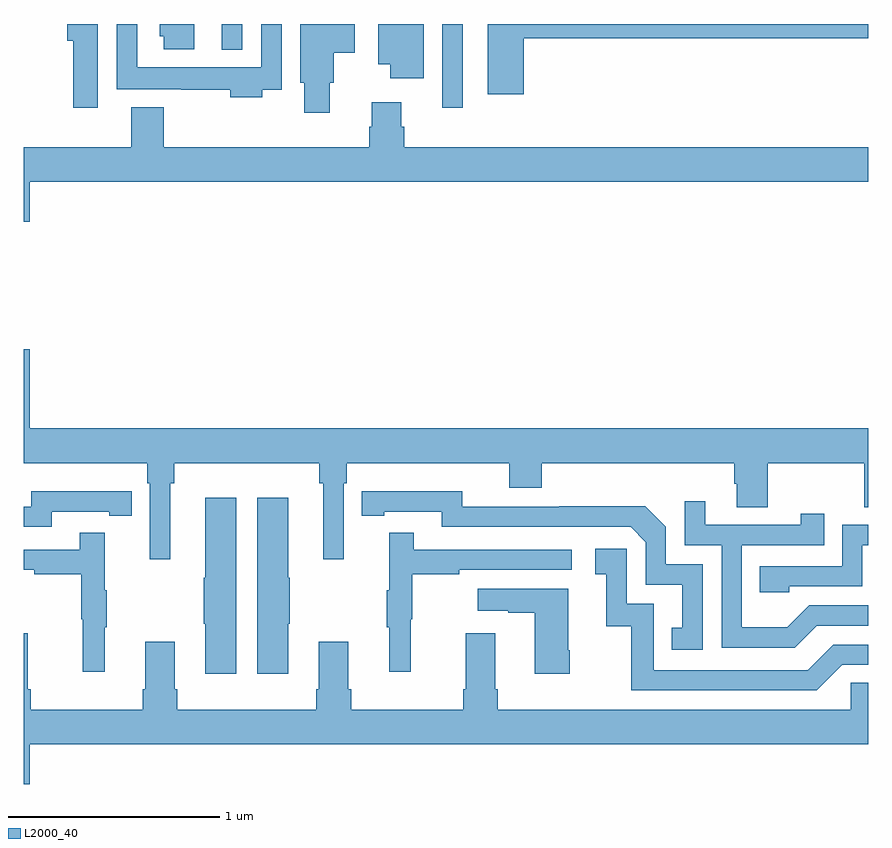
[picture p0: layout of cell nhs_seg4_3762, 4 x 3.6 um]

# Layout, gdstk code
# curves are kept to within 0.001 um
import gdstk
lib = gdstk.Library(unit=1e-6, precision=1e-09)
def R(c, l, rs):  # rectangles x0, y0, x1, y1
    for r in rs: c.add(gdstk.rectangle(r[:2], r[2:], *l))
def P(c, l, *ps):  # polygons
    for p in ps: c.add(gdstk.Polygon(p, *l))
L2000_40 = (2000, 40)

nhs_seg4_3762 = lib.new_cell('nhs_seg4_3762')
R(nhs_seg4_3762, L2000_40, [(310.983,798.504,311.079,798.9), (309.938,798.779,310.035,798.9)])
P(nhs_seg4_3762, L2000_40, [(310.129,798.588),(310.221,798.588),(310.221,798.9),(310.125,798.9),(310.125,798.694),(309.537,798.694),(309.537,798.9),(309.441,798.9),(309.441,798.59),(309.745,798.59),(309.745,798.588),(309.977,798.588),(309.977,798.554),(310.129,798.554)],
  [(309.808,798.9),(309.644,798.9),(309.644,798.843),(309.662,798.843),(309.662,798.78),(309.808,798.78)],
  [(311.369,798.832),(313,798.832),(313,798.9),(311.198,798.9),(311.198,798.567),(311.369,798.567)],
  [(310.894,798.9),(310.679,798.9),(310.679,798.71),(310.736,798.71),(310.736,798.642),(310.894,798.642)],
  [(309.351,798.9),(309.206,798.9),(309.206,798.821),(309.235,798.821),(309.235,798.504),(309.351,798.504)],
  [(310.45,798.621),(310.468,798.621),(310.468,798.763),(310.567,798.763),(310.567,798.9),(310.31,798.9),(310.31,798.621),(310.328,798.621),(310.328,798.48),(310.45,798.48)],
  [(313,798.316),(310.802,798.316),(310.802,798.414),(310.789,798.414),(310.789,798.529),(310.649,798.529),(310.649,798.414),(310.637,798.414),(310.637,798.316),(309.662,798.316),(309.662,798.505),(309.509,798.505),(309.509,798.316),(309,798.316),(309,797.964),(309.028,797.964),(309.028,798.152),(313,798.152)],
  [(309.694,796.724),(309.713,796.724),(309.713,796.82),(310.399,796.82),(310.399,796.724),(310.418,796.724),(310.418,796.365),(310.515,796.365),(310.515,796.724),(310.529,796.724),(310.529,796.82),(311.3,796.82),(311.3,796.703),(311.453,796.703),(311.453,796.82),(312.365,796.82),(312.365,796.722),(312.377,796.722),(312.377,796.612),(312.525,796.612),(312.525,796.82),(312.982,796.82),(312.982,796.612),(313,796.612),(313,796.984),(309.028,796.984),(309.028,797.359),(309,797.359),(309,796.82),(309.584,796.82),(309.584,796.724),(309.597,796.724),(309.597,796.365),(309.694,796.365)],
  [(312.216,796.341),(312.042,796.341),(312.042,796.518),(311.944,796.616),(311.536,796.616),(311.536,796.614),(311.076,796.614),(311.076,796.687),(310.6,796.686),(310.6,796.57),(310.708,796.57),(310.708,796.59),(310.98,796.59),(310.98,796.518),(311.874,796.518),(311.946,796.446),(311.946,796.245),(312.119,796.245),(312.119,796.041),(312.07,796.041),(312.07,795.936),(312.216,795.936)],
  [(309.132,796.59),(309.404,796.59),(309.404,796.57),(309.512,796.57),(309.512,796.686),(309.404,796.686),(309.404,796.687),(309.036,796.687),(309.036,796.614),(309,796.614),(309,796.518),(309.132,796.518)],
  [(310.252,796.06),(310.26,796.06),(310.26,796.277),(310.252,796.277),(310.252,796.657),(310.106,796.657),(310.106,795.822),(310.252,795.822)],
  [(310.006,796.657),(309.86,796.657),(309.86,796.277),(309.853,796.277),(309.853,796.06),(309.86,796.06),(309.86,795.822),(310.006,795.822)],
  [(312.757,796.05),(313,796.05),(313,796.146),(312.72,796.146),(312.616,796.042),(312.402,796.042),(312.402,796.431),(312.791,796.431),(312.791,796.579),(312.68,796.579),(312.68,796.527),(312.229,796.527),(312.229,796.639),(312.132,796.639),(312.132,796.431),(312.306,796.431),(312.306,795.945),(312.652,795.945)],
  [(312.627,796.236),(312.972,796.236),(312.972,796.431),(313,796.431),(313,796.527),(312.876,796.527),(312.876,796.332),(312.487,796.332),(312.487,796.209),(312.627,796.209)],
  [(310.832,796.08),(310.84,796.08),(310.84,796.294),(311.063,796.294),(311.063,796.314),(311.596,796.314),(311.596,796.41),(310.847,796.41),(310.847,796.489),(310.73,796.489),(310.73,796.217),(310.719,796.217),(310.719,796.043),(310.73,796.043),(310.73,795.831),(310.832,795.831)],
  [(309.383,796.043),(309.394,796.043),(309.394,796.217),(309.383,796.217),(309.383,796.489),(309.265,796.489),(309.265,796.41),(309,796.41),(309,796.314),(309.049,796.314),(309.049,796.294),(309.273,796.294),(309.273,796.08),(309.28,796.08),(309.28,795.831),(309.383,795.831)],
  [(312.876,795.864),(313,795.864),(313,795.96),(312.834,795.96),(312.714,795.84),(311.985,795.84),(311.985,796.155),(311.856,796.155),(311.856,796.414),(311.706,796.414),(311.706,796.293),(311.759,796.293),(311.759,796.047),(311.877,796.047),(311.877,795.744),(312.756,795.744)],
  [(311.586,795.934),(311.578,795.934),(311.578,796.225),(311.151,796.225),(311.151,796.121),(311.294,796.121),(311.294,796.111),(311.42,796.111),(311.42,795.822),(311.586,795.822)],
  [(309.028,795.488),(313,795.488),(313,795.779),(312.918,795.779),(312.918,795.652),(311.246,795.652),(311.246,795.748),(311.233,795.748),(311.233,796.015),(311.093,796.015),(311.093,795.748),(311.081,795.748),(311.081,795.652),(310.55,795.652),(310.55,795.748),(310.537,795.748),(310.537,795.973),(310.397,795.973),(310.397,795.748),(310.385,795.748),(310.385,795.652),(309.728,795.652),(309.728,795.748),(309.715,795.748),(309.715,795.973),(309.575,795.973),(309.575,795.748),(309.563,795.748),(309.563,795.652),(309.032,795.652),(309.032,795.748),(309.019,795.748),(309.019,796.015),(309,796.015),(309,795.3),(309.028,795.3)])

lib.write_gds('nhs_seg4_3762.gds')
